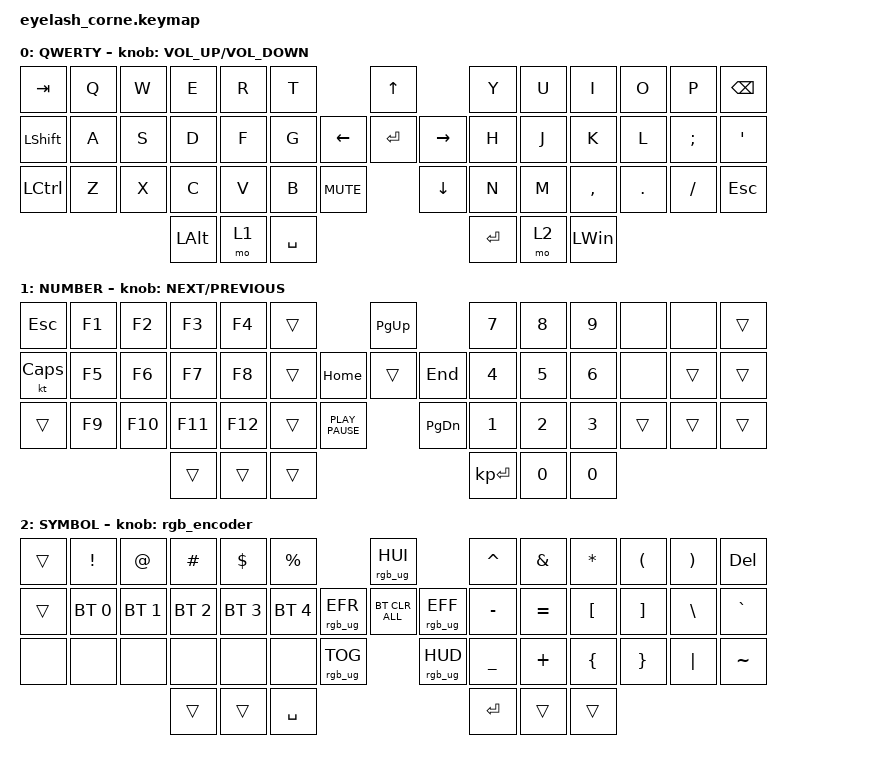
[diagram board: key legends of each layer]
#include <dt-bindings/zmk/mouse.h>
#include <input/processors.dtsi>
#include <behaviors.dtsi>
#include <dt-bindings/zmk/bt.h>
#include <dt-bindings/zmk/keys.h>
#include <dt-bindings/zmk/pointing.h>
#include <dt-bindings/zmk/rgb.h>

/*

   &mmv_input_listener {
       input-processors = <&zip_xy_scaler 2 1>;
   };

   &msc_input_listener {
       input-processors = <&zip_xy_scaler 2 1>;
   };

 */

#define ZMK_MOUSE_DEFAULT_MOVE_VAL 1200  // 600
#define ZMK_MOUSE_DEFAULT_SCRL_VAL 20    // 10

/ {
    behaviors {
        td0: td0 {
            compatible = "zmk,behavior-tap-dance";
            display-name = "Shift/Caps Lock Tap Dance";
            #binding-cells = <0>;
            bindings = <&kp LEFT_SHIFT>, <&kp CAPS>;
        };
    };

    rgb_encoder: rgb_encoder {
        compatible = "zmk,behavior-sensor-rotate";
        #sensor-binding-cells = <0>;
        bindings = <&rgb_ug RGB_BRI>, <&rgb_ug RGB_BRD>;
    };

    scroll_encoder: scroll_encoder {
        compatible = "zmk,behavior-sensor-rotate";
        #sensor-binding-cells = <0>;
        bindings = <&msc SCRL_DOWN>, <&msc SCRL_UP>;

        tap-ms = <30>;
    };

    keymap {
        compatible = "zmk,keymap";

        default_layer {
            display-name = "QWERTY";
            bindings = <
&kp TAB         &kp Q  &kp W  &kp E         &kp R  &kp T                              &kp UP                &kp Y      &kp U  &kp I         &kp O    &kp P     &kp BSPC
&kp LEFT_SHIFT  &kp A  &kp S  &kp D         &kp F  &kp G                    &kp LEFT  &kp ENTER  &kp RIGHT  &kp H      &kp J  &kp K         &kp L    &kp SEMI  &kp SQT
&kp LCTRL       &kp Z  &kp X  &kp C         &kp V  &kp B      &kp C_MUTE              &kp DOWN              &kp N      &kp M  &kp COMMA     &kp DOT  &kp FSLH  &kp ESC
                              &kp LEFT_ALT  &mo 1  &kp SPACE                                                &kp ENTER  &mo 2  &kp LEFT_WIN
            >;

            sensor-bindings = <&inc_dec_kp C_VOLUME_UP C_VOLUME_DOWN>;
        };

        lower_layer {
            display-name = "NUMBER";
            bindings = <
&kp ESCAPE    &kp F1  &kp F2   &kp F3   &kp F4   &trans                                &kp PAGE_UP             &kp N7        &kp N8        &kp N9        &none   &none   &trans
&kt CAPSLOCK  &kp F5  &kp F6   &kp F7   &kp F8   &trans                      &kp HOME  &trans         &kp END  &kp NUMBER_4  &kp N5        &kp NUMBER_6  &none   &trans  &trans
&trans        &kp F9  &kp F10  &kp F11  &kp F12  &trans  &kp K_PLAY_PAUSE              &kp PAGE_DOWN           &kp NUMBER_1  &kp NUMBER_2  &kp NUMBER_3  &trans  &trans  &trans
                               &trans   &trans   &trans                                                        &kp KP_ENTER  &kp N0        &kp N0
            >;

            sensor-bindings = <&inc_dec_kp K_NEXT K_PREVIOUS>;
        };

        raise_layer {
            display-name = "SYMBOL";
            bindings = <
&trans  &kp EXCL      &kp AT        &kp HASH      &kp DLLR      &kp PRCNT                                         &rgb_ug RGB_HUI                   &kp CARET  &kp AMPS   &kp ASTRK  &kp LPAR  &kp RPAR  &kp DELETE
&trans  &bt BT_SEL 0  &bt BT_SEL 1  &bt BT_SEL 2  &bt BT_SEL 3  &bt BT_SEL 4                     &rgb_ug RGB_EFR  &bt BT_CLR_ALL   &rgb_ug RGB_EFF  &kp MINUS  &kp EQUAL  &kp LBKT   &kp RBKT  &kp BSLH  &kp GRAVE
&none   &none         &none         &none         &none         &none         &rgb_ug RGB_TOG                     &rgb_ug RGB_HUD                   &kp UNDER  &kp PLUS   &kp LBRC   &kp RBRC  &kp PIPE  &kp TILDE
                                    &trans        &trans        &kp SPACE                                                                           &kp RET    &trans     &trans
            >;

            sensor-bindings = <&rgb_encoder>;
        };
    };
};
